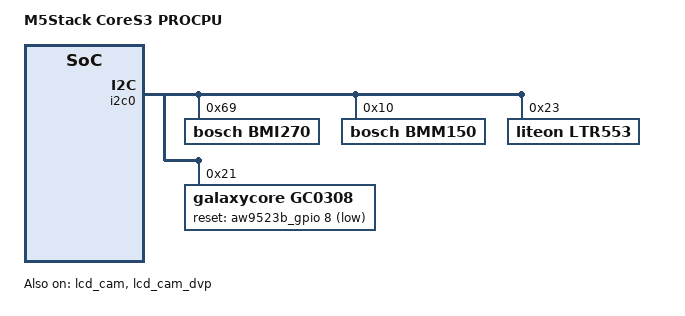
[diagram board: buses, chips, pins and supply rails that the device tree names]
/*
 * Copyright (c) 2024 TOKITA Hiroshi
 *
 * SPDX-License-Identifier: Apache-2.0
 */

/dts-v1/;

#include "m5stack_cores3_procpu_common.dtsi"

/ {
	model = "M5Stack CoreS3 PROCPU";
	compatible = "m5stack,cores3";

	aliases {
		accel0 = &bmi270;
		magn0 = &bmm150;
		light-sensor = &ltr553;
		prox-sensor0 = &ltr553;
	};

	chosen {
		zephyr,camera = &lcd_cam_dvp;
	};
};

&i2c0 {
	bmi270: bmi270@69 {
		compatible = "bosch,bmi270";
		reg = <0x69>;
	};

	bmm150: bmm150@10 {
		compatible = "bosch,bmm150";
		status = "okay";
		reg = <0x10>;
	};

	ltr553: ltr553@23 {
		compatible = "liteon,ltr553";
		reg = <0x23>;
		status = "okay";
	};

	gc0308: gc0308@21 {
		compatible = "galaxycore,gc0308";
		reg = <0x21>;
		reset-gpios = <&aw9523b_gpio 8 GPIO_ACTIVE_LOW>;

		port {
			gc0308_ep_out: endpoint {
				remote-endpoint-label = "dvp_ep_in";
			};
		};
	};
};

&dma {
	status = "okay";
};

&lcd_cam {
	status = "okay";
	pinctrl-0 = <&lcd_cam_default>;
	pinctrl-names = "default";
};

&lcd_cam_dvp {
	status = "okay";
	/*
	 * The GC0308 runs from its own oscillator, so CAM_CLK is not routed to
	 * any pin. The LCD_CAM block still needs a valid clock divider.
	 */
	cam-clk = <20000000>;
	source = <&gc0308>;

	port {
		dvp_ep_in: endpoint {
			remote-endpoint-label = "gc0308_ep_out";
		};
	};
};

&regulator {
	vddcam_3v3: ALDO3 {
		regulator-min-microvolt = <3000000>;
		/* regulator-init-microvolt = <3300000>; */
		regulator-max-microvolt = <3500000>;
		regulator-boot-on;
		status = "okay";
	};

	avdd: BLDO1 {
		regulator-min-microvolt = <2700000>;
		/* regulator-init-microvolt = <2800000>; */
		regulator-max-microvolt = <3300000>;
		regulator-boot-on;
		status = "okay";
	};
};

/* Camera core supply */
&dvdd {
	regulator-boot-on;
};
